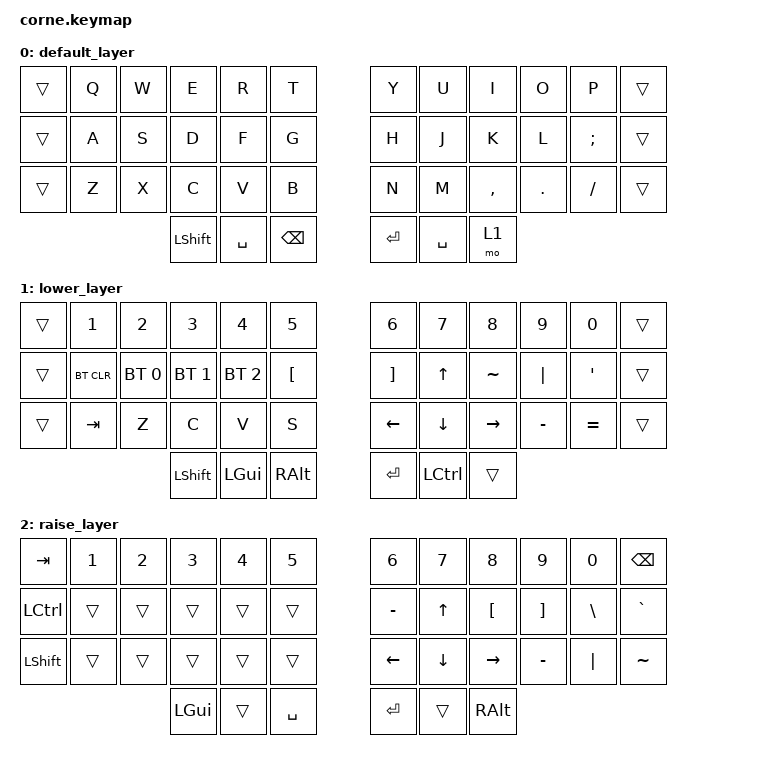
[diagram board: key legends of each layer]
/*
 * Copyright (c) 2020 The ZMK Contributors
 *
 * SPDX-License-Identifier: MIT
 */

#include <behaviors.dtsi>
#include <dt-bindings/zmk/keys.h>
#include <dt-bindings/zmk/bt.h>

/ {
        keymap {
                compatible = "zmk,keymap";

                default_layer {
// -----------------------------------------------------------------------------------------
// |      |  Q  |  W  |  E  |  R  |  T  |   |  Y  |  U   |  I  |  O  |  P  |      |
// |      |  A  |  S  |  D  |  F  |  G  |   |  H  |  J   |  K  |  L  |  ;  |      |
// |      |  Z  |  X  |  C  |  V  |  B  |   |  N  |  M   |  ,  |  .  |  /  |      |
//                    | GUI | LWR | SPC |   | ENT | RSE  | ALT |
                        bindings = <
   &trans   &kp Q &kp W &kp E &kp R &kp T   &kp Y &kp U  &kp I     &kp O   &kp P    &trans
   &trans &kp A &kp S &kp D &kp F &kp G   &kp H &kp J  &kp K     &kp L   &kp SEMI &trans
   &trans &kp Z &kp X &kp C &kp V &kp B   &kp N &kp M  &kp COMMA &kp DOT &kp FSLH &trans
                  &kp LSHIFT &kp SPACE &kp BSPC   &kp RET &kp SPACE &mo 1
                        >;
                };
                lower_layer {
// -----------------------------------------------------------------------------------------
// |    |  1  |  2  |  3  |  4  |  5  |   |  6  |  7  |  8  |  9  |  0  |      |
// |    | BT1 | BT2 | BT3 | BT4 |  [  |   |  ]  |  UP | ` ~ | \ | | ' " |      |
// |    | TAB |  Z  |  C  |  V  |  B  |   | LFT | DWN | RGT | - _ | = + |      |
//                    | LSHFT | LGUI | RALT |   | ENT |     | ALT |
                        bindings = <
   &trans    &kp N1       &kp N2       &kp N3       &kp N4       &kp N5         &kp N6   &kp N7   &kp N8 &kp N9    &kp N0 &trans
   &trans &bt BT_CLR &bt BT_SEL 0 &bt BT_SEL 1 &bt BT_SEL 2 &kp LBKT   &kp RBKT &kp UP &kp TILDE &kp PIPE &kp SQT &trans
   &trans &kp TAB       &kp Z       &kp C       &kp V       &kp S         &kp LEFT   &kp DOWN   &kp RIGHT &kp MINUS   &kp EQUAL &trans
                                    &kp LSHIFT     &kp LGUI       &kp RALT      &kp RET  &kp LCTRL   &trans
                        >;
                };

                raise_layer {
// -----------------------------------------------------------------------------------------
// |  TAB |  !  |  @  |  #  |  $  |  %  |   |  ^  |  &  |  *  |  (  |  )  | BKSP |
// | CTRL |     |     |     |     |     |   |  -  |  =  |  [  |  ]  |  \  |  `   |
// | SHFT |     |     |     |     |     |   |  _  |  +  |  {  |  }  | "|" |  ~   |
//                    | GUI |     | SPC |   | ENT |     | ALT |
                        bindings = <
   &kp  TAB  &kp N1 &kp N2 &kp N3 &kp N4 &kp N5   &kp N6 &kp N7  &kp N8 &kp N9 &kp N0 &kp BSPC
   &kp LCTRL &trans   &trans &trans   &trans   &trans      &kp MINUS &kp UP &kp LBKT        &kp RBKT &kp BSLH &kp GRAVE
   &kp LSHFT &trans   &trans &trans   &trans   &trans      &kp LEFT &kp DOWN  &kp RIGHT        &kp MINUS &kp PIPE &kp TILDE
                             &kp LGUI &trans   &kp SPACE   &kp RET   &trans    &kp RALT
                        >;
                };
        };
};
